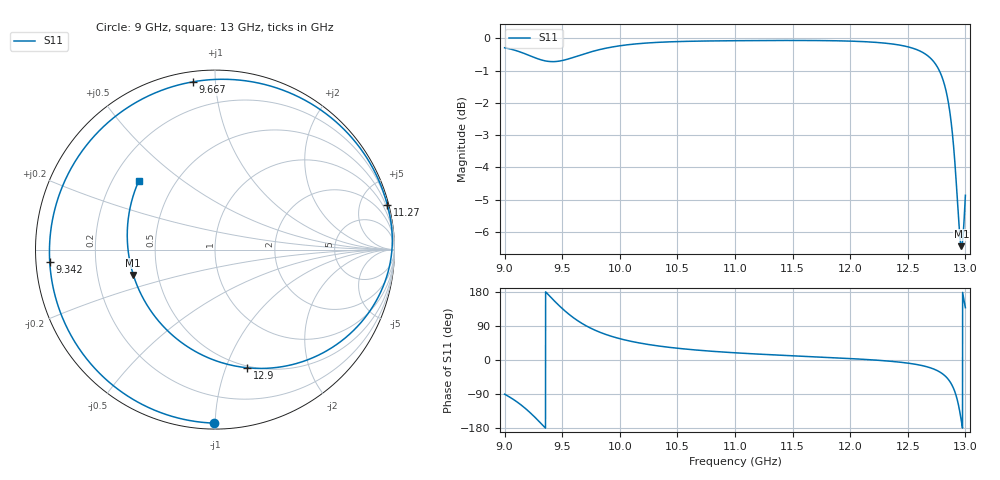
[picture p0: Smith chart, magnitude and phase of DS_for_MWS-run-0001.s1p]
! TOUCHSTONE file generated by CST DESIGN STUDIO
! Date and time: Tue Feb  4 16:45:49 2025
! Project name: C:\Work\MatlabApps\UnitCellOptimizationMatlab\CST\unitcell.cst
! Tree item: Tasks\Sweep1\SPara1\S-Parameters
! Header version: 2024
! Port assignment regex: !\s*Touchstone port\s*([0-9]+)\s*=\s*(CST MWS port|CST DES external port|CST DES block port)\s*(.+)\s* \(\"(.*)\"\)(\s*mode\s*([0-9]+))?.*
! Touchstone port assignment:
! Touchstone port 1 = CST DES external port 1 ("")
# GHz S MA R 50
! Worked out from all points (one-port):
!   4001 points, 9 GHz to 13 GHz, reference 50 ohm
!   lowest |S11| = -6.4 dB at 12.97 GHz (marker M1), VSWR 2.82, Z = 18.1 - j6.6 ohm
!   |S11| at or under -10 dB: nowhere
!   S11 on the Smith chart (normalised r, x): 9 GHz: 0.03, -0.99; 9.342 GHz: 0.04, -0.04; 9.667 GHz: 0.05, +0.88; 11.27 GHz: 0.25, +7.82; 12.9 GHz: 0.48, -1.19; 13 GHz: 0.31, +0.35
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9  0.9668 -90.3
9.093  0.9578 -107.5
9.174  0.9467 -126.2
9.267  0.9324 -152.2
9.342  0.9234 -175.7
9.415  0.9201 161.1
9.5  0.9237 135.9
9.579  0.9319 115.8
9.667  0.943 97.4
9.824  0.9604 73.6
10  0.9736 56.3
10.216  0.9828 42.5
10.5  0.9883 31.0
11  0.9914 19.0
11.266  0.992 14.6
11.5  0.9923 11.1
12  0.99 3.8
12.5  0.9701 -8.2
12.666  0.9417 -17.9
12.77  0.8938 -30.3
12.841  0.8151 -47.3
12.87  0.7575 -59.0
12.897  0.6821 -74.8
12.932  0.5552 -108.1
12.948  0.5025 -131.0
12.966  0.4765 -162.8
12.986  0.513 160.4
13  0.5713 138.1
